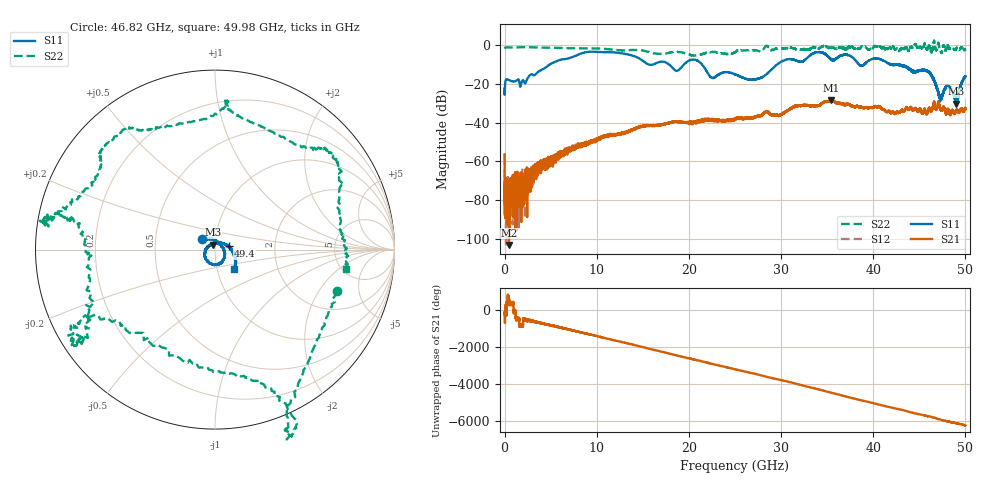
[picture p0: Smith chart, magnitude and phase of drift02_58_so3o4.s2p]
!Created with skrf (http://scikit-rf.org).
# Hz S RI R 50.0
!freq ReS11 ImS11 ReS21 ImS21 ReS12 ImS12 ReS22 ImS22
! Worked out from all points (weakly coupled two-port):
!   10001 points, 300 kHz to 50 GHz, reference 50 ohm
!   highest |S21| = -28.49 dB at 35.38 GHz (marker M1); lowest = -102.9 dB at 465.3 MHz (marker M2)
!   lowest |S11| = -30.4 dB at 49.02 GHz (marker M3), VSWR 1.06, Z = 48.8 + j2.74 ohm
!   |S11| at or under -10 dB: start of sweep to 4.955 GHz; 21.38 GHz to 29.62 GHz (8.241 GHz wide, 32.3 % of centre); 41.83 GHz to end of sweep (the widest 3 of 9)
!   |S22| runs from -5.7 to 2.1 dB; largest |S21 - S12| = 0.0032
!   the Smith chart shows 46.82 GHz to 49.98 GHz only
!   S11 on the Smith chart (normalised r, x): 46.82 GHz: 0.86, +0.11; 49.4 GHz: 1.16, +0.05; 49.98 GHz: 1.20, -0.26
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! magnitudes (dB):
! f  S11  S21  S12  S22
! 300 kHz  -22.5  -56.3  -57.4  -2.1
! 255.3 MHz  -17.9  -76.3  -69.9  -1.4
! 465.3 MHz  -18.2  -102.9  -80.2  -1.5
! 1.87 GHz  -19.1  -70.6  -80.8  -1.3
! 8.335 GHz  -4.5  -52.0  -50.8  -1.9
! 16.67 GHz  -9.1  -41.4  -41.4  -4.7
! 18.7 GHz  -13.5  -39.6  -39.5  -3.7
! 20.6 GHz  -7.7  -39.6  -40.0  -5.7
! 22.51 GHz  -17.1  -39.0  -38.8  -3.7
! 25 GHz  -15.3  -38.3  -38.0  -3.9
! 27.44 GHz  -17.6  -36.9  -36.6  -3.1
! 33.34 GHz  -4.9  -31.2  -31.3  -1.6
! 35.38 GHz  -7.4  -28.5  -28.7  -1.4
! 41.67 GHz  -9.6  -34.2  -34.1  -1.9
! 45.78 GHz  -13.4  -35.7  -35.8  -2.0
! 46.82 GHz  -20.5  -33.0  -33.0  -2.9
! 47.28 GHz  -26.8  -33.1  -32.9  -3.4
! 48.11 GHz  -21.2  -33.1  -33.2  -0.6
! 49.02 GHz  -30.4  -33.6  -33.8  -1.9
! 49.4 GHz  -22.1  -34.2  -34.4  -2.5
! 49.98 GHz  -16.5  -32.9  -32.9  -2.6
! 50 GHz  -16.4  -33.2  -32.5  -2.6
